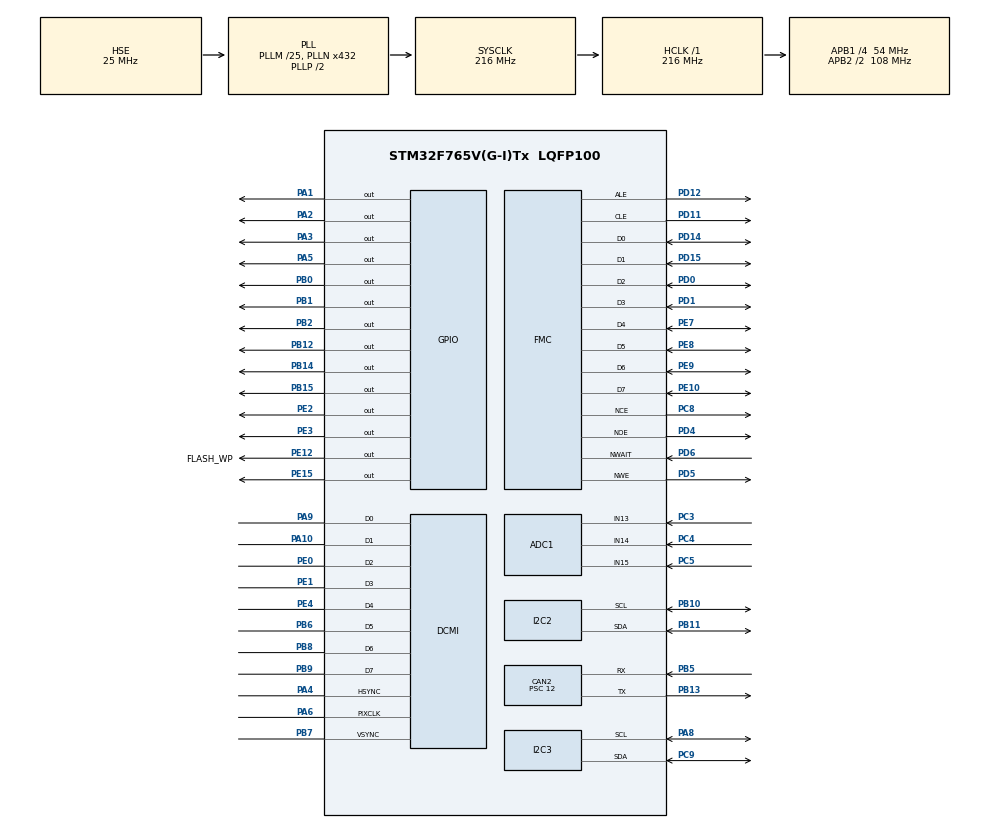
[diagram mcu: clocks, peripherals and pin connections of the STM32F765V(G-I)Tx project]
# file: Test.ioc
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SH.FMC_D7_DA7.0=FMC_D7,8b-dmux1
PB10.Mode=I2C
Dma.DCMI.0.MemBurst=DMA_MBURST_SINGLE
FMC.CommonSpaceSetupTime1=14
SH.FMC_D5_DA5.0=FMC_D5,8b-dmux1
PB13.Signal=CAN2_TX
PA5.PinState=GPIO_PIN_SET
FMC.NandBlockNbr1=2048
SH.FMC_NWE.0=FMC_NWE,8b-dmux1
RCC.SYSCLKSource=RCC_SYSCLKSOURCE_PLLCLK
Dma.DCMI.0.MemDataAlignment=DMA_MDATAALIGN_WORD
CORTEX_M7.Enable-Cortex_Memory_Protection_Unit_Region0_Settings=MPU_REGION_ENABLE
PA4.Mode=Slave_8_bits_External_Synchro
Dma.DCMI.0.PeriphDataAlignment=DMA_PDATAALIGN_WORD
PD4.Signal=FMC_NOE
RCC.APB2TimFreq_Value=216000000
PB6.Signal=DCMI_D5
PB12.PinState=GPIO_PIN_RESET
PH1/OSC_OUT.Signal=RCC_OSC_OUT
PB6.Mode=Slave_8_bits_External_Synchro
PC3.Signal=ADCx_IN13
PD0.Signal=FMC_D2_DA2
FMC.NandPlaneSize1=1024
PE1.Signal=DCMI_D3
PB2.Signal=GPIO_Output
SH.ADCx_IN15.0=ADC1_IN15,IN15
DCMI.PCKPolarity=DCMI_PCKPOLARITY_RISING
PE9.Signal=FMC_D6_DA6
PC9.Mode=I2C
PE2.Signal=GPIO_Output
PA8.Signal=I2C3_SCL
SH.FMC_D1_DA1.0=FMC_D1,8b-dmux1
PE10.Signal=FMC_D7_DA7
Mcu.Package=LQFP100
PB9.Signal=DCMI_D7
PB1.Signal=GPIO_Output
NVIC.TimeBase=TIM1_UP_TIM10_IRQn
SH.ADCx_IN14.0=ADC1_IN14,IN14
PD12.Signal=FMC_A17_ALE
NVIC.TimeBaseIP=TIM1
PA10.Signal=DCMI_D1
PE12.GPIO_Label=FLASH_WP
RCC.APB2CLKDivider=RCC_HCLK_DIV2
RCC.APB1TimFreq_Value=108000000
FMC.CommonSpaceHiZSetupTime1=14
PB13.Mode=CAN_Activate
PD15.Signal=FMC_D1_DA1
SH.FMC_D3_DA3.0=FMC_D3,8b-dmux1
CAN2.CalculateBaudRate=250000
NVIC.CAN2_TX_IRQn=true\:5\:0\:false\:false\:true\:true\:true\:true
FREERTOS.Tasks01=defaultTask,24,128,StartDefaultTask,Default,NULL,Dynamic,NULL,NULL
PE1.Mode=Slave_8_bits_External_Synchro
PD1.Signal=FMC_D3_DA3
RCC.APB1CLKDivider=RCC_HCLK_DIV4
SH.FMC_NOE.0=FMC_NOE,8b-dmux1
NVIC.CAN2_RX1_IRQn=true\:5\:0\:false\:false\:true\:true\:true\:true
PB11.Mode=I2C
FMC.EccComputation1=FMC_NAND_ECC_ENABLE
FMC.AttributeSpaceSetupTime1=14
PA9.Signal=DCMI_D0
PB10.Signal=I2C2_SCL
DCMI.JPEGMode=DCMI_JPEG_ENABLE
PB14.Signal=GPIO_Output
PA5.Signal=GPIO_Output
PE15.Signal=GPIO_Output
PE8.Signal=FMC_D5_DA5
CORTEX_M7.AccessPermission-Cortex_Memory_Protection_Unit_Region0_Settings=MPU_REGION_FULL_ACCESS
PC8.Mode=NandChipSelect3_1
ADC1.SamplingTime-1\#ChannelRegularConversion=ADC_SAMPLETIME_3CYCLES
PA4.Signal=DCMI_HSYNC
PB5.Signal=CAN2_RX
ADC1.master=1
PD11.Signal=FMC_A16_CLE
ADC1.Rank-1\#ChannelRegularConversion=1
ProjectManager.HeapSize=0x200
FMC.AttributeSpaceHoldSetupTime1=10
NVIC.CAN2_SCE_IRQn=true\:5\:0\:false\:false\:true\:true\:true\:true
NVIC.TIM1_UP_TIM10_IRQn=true\:0\:0\:false\:false\:true\:false\:false\:true
NVIC.PriorityGroup=NVIC_PRIORITYGROUP_4
PB8.Mode=Slave_8_bits_External_Synchro
PE3.Signal=GPIO_Output
PA3.PinState=GPIO_PIN_SET
PA8.Mode=I2C
Dma.DCMI.0.PeriphInc=DMA_PINC_DISABLE
PB0.Signal=GPIO_Output
Dma.DCMI.0.Priority=DMA_PRIORITY_LOW
Mcu.Family=STM32F7
PA6.Mode=Slave_8_bits_External_Synchro
RCC.CortexFreq_Value=216000000
NVIC.CAN2_RX0_IRQn=true\:5\:0\:false\:false\:true\:true\:true\:true
FMC.NandPageSize1=2048
CAN2.CalculateTimeBit=3999.99
I2C2.Timing=0x20404768
SH.FMC_D6_DA6.0=FMC_D6,8b-dmux1
FMC.TARSetupTime1=0
PB11.Signal=I2C2_SDA
PB15.Signal=GPIO_Output
FMC.CommonSpaceHoldSetupTime1=10
PB15.PinState=GPIO_PIN_RESET
ProjectManager.StackSize=0x400
Dma.DCMI.0.FIFOMode=DMA_FIFOMODE_ENABLE
VP_FREERTOS_VS_CMSIS_V2.Mode=CMSIS_V2
Dma.DCMI.0.FIFOThreshold=DMA_FIFO_THRESHOLD_FULL
Dma.DCMI.0.MemInc=DMA_MINC_ENABLE
PH0/OSC_IN.Mode=HSE-External-Oscillator
RCC.HCLKFreq_Value=216000000
RCC.AHBFreq_Value=216000000
PE3.PinState=GPIO_PIN_RESET
FMC.NandBlockSize1=64
RCC.HSE_VALUE=25000000
SH.FMC_D2_DA2.0=FMC_D2,8b-dmux1
FMC.AttributeSpaceHiZSetupTime1=14
CAN2.Prescaler=12
VP_SYS_VS_tim1.Mode=TIM1
PB5.Mode=CAN_Activate
PB7.Signal=DCMI_VSYNC
Dma.DCMI.0.PeriphBurst=DMA_PBURST_SINGLE
PE4.Mode=Slave_8_bits_External_Synchro
PH1/OSC_OUT.Mode=HSE-External-Oscillator
PE4.Signal=DCMI_D4
FREERTOS.configTOTAL_HEAP_SIZE=150000
PA6.Signal=DCMI_PIXCLK
NVIC.DMA2_Stream7_IRQn=true\:5\:0\:false\:false\:true\:false\:false\:true
SH.FMC_D0_DA0.0=FMC_D0,8b-dmux1
CAN2.BS1=CAN_BS1_13TQ
CAN2.BS2=CAN_BS2_4TQ
Dma.DCMI.0.Direction=DMA_PERIPH_TO_MEMORY
FMC.TCLRSetupTime1=0
SH.FMC_D4_DA4.0=FMC_D4,8b-dmux1
I2C3.Timing=0x20404768
FMC.AttributeSpaceWaitSetupTime1=14
PC5.Signal=ADCx_IN15
PE7.Signal=FMC_D4_DA4
PD6.Signal=FMC_NWAIT
Dma.Request0=DCMI
PA3.Signal=GPIO_Output
RCC.PLLSourceVirtual=RCC_PLLSOURCE_HSE
SH.ADCx_IN13.0=ADC1_IN13,IN13
PA10.Mode=Slave_8_bits_External_Synchro
PE2.PinState=GPIO_PIN_RESET
PC8.Signal=FMC_NCE
PC4.Signal=ADCx_IN14
PD5.Signal=FMC_NWE
FMC.CommonSpaceWaitSetupTime1=14
CORTEX_M7.MPU_Control=__NULL
PA9.Mode=Slave_8_bits_External_Synchro
PB14.PinState=GPIO_PIN_RESET
SH.FMC_A17_ALE.0=FMC_ALE,8b-dmux1
ProjectManager.TargetToolchain=STM32CubeIDE
SH.FMC_A16_CLE.0=FMC_CLE,8b-dmux1
PB9.Mode=Slave_8_bits_External_Synchro
Dma.DCMI.0.Instance=DMA2_Stream7
Dma.DCMI.0.Mode=DMA_NORMAL
ADC1.Channel-1\#ChannelRegularConversion=ADC_CHANNEL_13
RCC.USBFreq_Value=216000000
RCC.LSE_VALUE=32768
PA1.Signal=GPIO_Output
FMC.NandSpareAreaSize1=64
board=custom
RCC.VCOOutputFreq_Value=432000000
FMC.NandPlaneNbr1=2
PH0/OSC_IN.Signal=RCC_OSC_IN
RCC.APB2Freq_Value=108000000
FMC.ECCPageSize1=FMC_NAND_ECC_PAGE_SIZE_2048BYTE
CAN2.CalculateTimeQuantum=222.22222222222223
Mcu.Name=STM32F765V(G-I)Tx
PE0.Signal=DCMI_D2
PE12.Signal=GPIO_Output
PA2.Signal=GPIO_Output
PD14.Signal=FMC_D0_DA0
RCC.SYSCLKFreq_VALUE=216000000
FMC.NandExtraCommandEnable1=DISABLE
PB7.Mode=Slave_8_bits_External_Synchro
SH.FMC_NWAIT.0=FMC_NWAIT,Wait1
RCC.HSI_VALUE=16000000
ADC1.NbrOfConversionFlag=1
RCC.PLLM=25
RCC.PLLN=432
PB8.Signal=DCMI_D6
PC9.Signal=I2C3_SDA
NVIC.DCMI_IRQn=true\:5\:0\:false\:false\:true\:true\:true\:true
RCC.APB1Freq_Value=54000000
PE15.PinState=GPIO_PIN_RESET
PB12.Signal=GPIO_Output
PE0.Mode=Slave_8_bits_External_Synchro

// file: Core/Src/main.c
/* USER CODE BEGIN Header */
/**
  ******************************************************************************
  * @file           : main.c
  * @brief          : Main program body
  ******************************************************************************
  * @attention
  *
  * <h2><center>&copy; Copyright (c) 2021 STMicroelectronics.
  * All rights reserved.</center></h2>
  *
  * This software component is licensed by ST under BSD 3-Clause license,
  * the "License"; You may not use this file except in compliance with the
  * License. You may obtain a copy of the License at:
  *                        opensource.org/licenses/BSD-3-Clause
  *
  ******************************************************************************
  */
/* USER CODE END Header */
#include "main.h"
#include "cmsis_os.h"
#include "adc.h"
#include "can.h"
#include "dcmi.h"
#include "dma.h"
#include "i2c.h"
#include "gpio.h"
#include "fmc.h"

/* USER CODE BEGIN Includes */
#include <string.h>
#include <stdio.h>

#include <csp/csp.h>
#include "csp/interfaces/csp_if_can.h"

#include "application.h"

#include "flash.h"

#include "filesystemDriver.h"
#include "yaffs_yaffs2.h"
#include "yaffsfs.h"

/* USER CODE END Includes */

void SystemClock_Config(void);
void MX_FREERTOS_Init(void);
/* USER CODE BEGIN PFP */
int test(int a, int b);
static void vTestCspServer(void * pvParameters);
static void vTestCspClient(void * pvParameters);
void vTestMemory(void * pvParams);
/* USER CODE END PFP */

/* USER CODE BEGIN 0 */

//Un-comment one, to run the CSP client or server task.
//#define CLIENT
//#define SERVER
/* USER CODE END 0 */

int main(void)
{

  /* MCU Configuration--------------------------------------------------------*/

  /* Reset of all peripherals, Initializes the Flash interface and the Systick. */

  HAL_Init();

  /* Configure the system clock */
  SystemClock_Config();

  /* Initialize all configured peripherals */
  MX_GPIO_Init();
  MX_DMA_Init();
  MX_ADC1_Init();
  MX_CAN2_Init();
  MX_FMC_Init();
  MX_DCMI_Init();
  MX_I2C2_Init();
  MX_I2C3_Init();
  /* USER CODE BEGIN 2 */
  HAL_CAN_MspInit(&hcan2);
  MX_CAN2_Init();

  BaseType_t status;
#ifdef SERVER
    status = xTaskCreate(vTestCspServer,
                         "Test CSP Server",
                         160,
                         NULL,
                         1,
                         NULL);

#endif

#ifdef CLIENT
    status = xTaskCreate(vTestCspClient,
                         "Test CSP Client",
                         160,
                         NULL,
                         1,
                         NULL);

#endif

    //This task does most of the stuff.
    xTaskCreate(commandHandler,
                             "cmdHandler",
                             1000,
                             NULL,
                             3,
                             NULL);

//	Test for the memory. Not needed for the production code...
//    BaseType_t state = xTaskCreate(vTestMemory,"test mem", 10000,NULL,1,NULL);

    //Initialize the filesystem to work with freertos...
    yaffsfs_OSInitialisation();

    //Link the external flash with the filesystem.
    struct yaffs_dev* fileSystemDevice;
    fs_nand_install_drv(fileSystemDevice);

    size_t freeSpace= xPortGetFreeHeapSize();

  /* USER CODE END 2 */

  /* Init scheduler */
  osKernelInitialize();  /* Call init function for freertos objects (in freertos.c) */
  MX_FREERTOS_Init();
  /* Start scheduler */
  osKernelStart();

  /* We should never get here as control is now taken by the scheduler */
  /* Infinite loop */
  while (1)
  {

  }
}

void SystemClock_Config(void)
{
  RCC_OscInitTypeDef RCC_OscInitStruct = {0};
  RCC_ClkInitTypeDef RCC_ClkInitStruct = {0};
  RCC_PeriphCLKInitTypeDef PeriphClkInitStruct = {0};

  /** Configure the main internal regulator output voltage
  */
  __HAL_RCC_PWR_CLK_ENABLE();
  __HAL_PWR_VOLTAGESCALING_CONFIG(PWR_REGULATOR_VOLTAGE_SCALE1);
  /** Initializes the RCC Oscillators according to the specified parameters
  * in the RCC_OscInitTypeDef structure.
  */
  RCC_OscInitStruct.OscillatorType = RCC_OSCILLATORTYPE_HSE;
  RCC_OscInitStruct.HSEState = RCC_HSE_ON;
  RCC_OscInitStruct.PLL.PLLState = RCC_PLL_ON;
  RCC_OscInitStruct.PLL.PLLSource = RCC_PLLSOURCE_HSE;
  RCC_OscInitStruct.PLL.PLLM = 25;
  RCC_OscInitStruct.PLL.PLLN = 432;
  RCC_OscInitStruct.PLL.PLLP = RCC_PLLP_DIV2;
  RCC_OscInitStruct.PLL.PLLQ = 2;
  if (HAL_RCC_OscConfig(&RCC_OscInitStruct) != HAL_OK)
  {
    Error_Handler();
  }
  /** Activate the Over-Drive mode
  */
  if (HAL_PWREx_EnableOverDrive() != HAL_OK)
  {
    Error_Handler();
  }
  /** Initializes the CPU, AHB and APB buses clocks
  */
  RCC_ClkInitStruct.ClockType = RCC_CLOCKTYPE_HCLK|RCC_CLOCKTYPE_SYSCLK
                              |RCC_CLOCKTYPE_PCLK1|RCC_CLOCKTYPE_PCLK2;
  RCC_ClkInitStruct.SYSCLKSource = RCC_SYSCLKSOURCE_PLLCLK;
  RCC_ClkInitStruct.AHBCLKDivider = RCC_SYSCLK_DIV1;
  RCC_ClkInitStruct.APB1CLKDivider = RCC_HCLK_DIV4;
  RCC_ClkInitStruct.APB2CLKDivider = RCC_HCLK_DIV2;

  if (HAL_RCC_ClockConfig(&RCC_ClkInitStruct, FLASH_LATENCY_7) != HAL_OK)
  {
    Error_Handler();
  }
  PeriphClkInitStruct.PeriphClockSelection = RCC_PERIPHCLK_I2C2|RCC_PERIPHCLK_I2C3;
  PeriphClkInitStruct.I2c2ClockSelection = RCC_I2C2CLKSOURCE_PCLK1;
  PeriphClkInitStruct.I2c3ClockSelection = RCC_I2C3CLKSOURCE_PCLK1;
  if (HAL_RCCEx_PeriphCLKConfig(&PeriphClkInitStruct) != HAL_OK)
  {
    Error_Handler();
  }
}

/* USER CODE BEGIN 4 */
int test(int a, int b){

	return a+b;
}

static void vTestCspServer(void * pvParameters){

	struct csp_can_config can_conf;
	can_conf.bitrate=250000;
	can_conf.clock_speed=250000;
	can_conf.ifc = "CAN";

	/* Init buffer system with 5 packets of maximum 256 bytes each */
	int resp = csp_buffer_init(5, 256);//The 256 number is from the MTU of the CAN interface.

	/* Init CSP with address 0 */
	resp = csp_init(0);

	/* Init the CAN interface with hardware filtering */
	resp = csp_can_init(CSP_CAN_MASKED, &can_conf);

	/* Setup default route to CAN interface */
	resp = csp_rtable_set(CSP_DEFAULT_ROUTE,0, &csp_if_can,CSP_NODE_MAC);

	size_t freSpace = xPortGetFreeHeapSize();
	/* Start router task with 100 word stack, OS task priority 1 */
	resp = csp_route_start_task(100, 1);

	csp_conn_t * conn = NULL;
	csp_packet_t * packet= NULL;
	csp_socket_t * socket = csp_socket(0);
	csp_bind(socket, CSP_ANY);
	csp_listen(socket,4);

	while(1) {

			conn = csp_accept(socket, 1000);
			if(conn){
				packet = csp_read(conn,0);
				//prvUARTSend(&g_mss_uart0, packet->data, packet->length);
				//printf(“%S\r\n�?, packet->data);
				csp_buffer_free(packet);
				csp_close(conn);
			}
	}
}
/*-----------------------------------------------------------*/
static void vTestCspClient(void * pvParameters){

	struct csp_can_config can_conf;
	can_conf.bitrate=250000;
	can_conf.clock_speed=250000;
	can_conf.ifc = "CAN";

	/* Init buffer system with 5 packets of maximum 256 bytes each */
	int res = csp_buffer_init(5, 256);//The 256 number is from the MTU of the CAN interface.

	/* Init CSP with address 1 */
	res = csp_init(1);

	/* Init the CAN interface with hardware filtering */
	res = csp_can_init(CSP_CAN_MASKED, &can_conf);

	/* Setup address 0 to route to CAN interface */
	res = csp_rtable_set(0,0, &csp_if_can,0);

	size_t freSpace = xPortGetFreeHeapSize();
	/* Start router task with 100 word stack, OS task priority 1 */
	res = csp_route_start_task(100, 1);

	while(1){
		csp_conn_t * conn;
		csp_packet_t * packet;
		conn = csp_connect(2,0,4,1000,0);	//Create a connection. This tells CSP where to send the data (address and destination port).
		packet = csp_buffer_get(sizeof("TEST0 World")); // Get a buffer large enough to fit our data. Max size is 256.
		sprintf(packet->data,"TEST0 World");
		packet->length=strlen("TEST0 World");
		csp_send(conn,packet,0);
		csp_close(conn);
		vTaskDelay(10000);
	}
}

void vTestMemory(void * pvParams){

//	//Write Protect Pin should be high.
//	HAL_GPIO_WritePin(FLASH_WP_GPIO_Port, FLASH_WP_Pin, 1);
//	HAL_NAND_Reset(&hnand1);
//
//	NAND_IDTypeDef nandInfo;
//
//	//For reference, the W29N02GV id:
////	nandInfo.Device_Id = 0xDA;
////	nandInfo.Maker_Id = 0xEF;
////	nandInfo.Third_Id=90;
////	nandInfo.Fourth_Id =95;
//
//    NAND_AddressTypeDef addr;
//    addr.Block = 2047;
//    addr.Page = 0;
//    addr.Plane = 0;
//
//	HAL_NAND_Erase_Block(&hnand1, &addr);
//	HAL_StatusTypeDef res =  HAL_NAND_Read_ID(&hnand1,&nandInfo);
//
//	uint8_t testBuff [hnand1.Config.PageSize];
//	uint8_t testBuffRx [hnand1.Config.PageSize];

int result = initFlash();
eraseFlashDevice();

	//Image is too big to fit in ram, so split into chunks of 5*2048.
	uint8_t imageDataPart[5*2048];
	uint16_t imageNumParts = 375; //375*5*2048  = 3.84Mb,

	uint8_t imageRxPart [5*2048];

	for(int j=0; j<5; j++){
		for(int i=0; i< hnand1.Config.PageSize; i++){

			imageDataPart[i+j*2048] = j;
			imageRxPart[i+j*2048]= 0 ;
		}
	}

	long error = 0; //Error count, this should be 0 at the end of the test.
	uint16_t imgCount =0;
	uint32_t currAddr=0;

	while(1){

		//Write an image;

		for(int i=0; i< imageNumParts; i++){

			int8_t res = writeFlash(imageDataPart,currAddr + i*5,5);
			if(res != 1){
				while(1){}
			}
		}

		//Read the image;

		for(int i=0; i< imageNumParts; i++){

			int8_t res = readFlash(imageRxPart,currAddr + i*5,5);
			if(res != 1){
				while(1){}
			}

			for(int j=0; j<5; j++){
				for(int i=0; i< hnand1.Config.PageSize; i++){

					if(imageRxPart[i+j*2048] != j){
						error ++;
					}
					}

				}
			}

		//Clear Rx Buffer, just to be sure.
		memset(imageRxPart,0,5*2048);
		imgCount++;
		currAddr += imageNumParts*5;

		vTaskDelay(pdMS_TO_TICKS(5));
	}
}

/* USER CODE END 4 */

 /**
  * @brief  Period elapsed callback in non blocking mode
  * @note   This function is called  when TIM1 interrupt took place, inside
  * HAL_TIM_IRQHandler(). It makes a direct call to HAL_IncTick() to increment
  * a global variable "uwTick" used as application time base.
  * @param  htim : TIM handle
  * @retval None
  */
void HAL_TIM_PeriodElapsedCallback(TIM_HandleTypeDef *htim)
{
  if (htim->Instance == TIM1) {
    HAL_IncTick();
  }
}

void Error_Handler(void)
{
  __disable_irq();
  while (1)
  {
  }
}

/************************ (C) COPYRIGHT STMicroelectronics *****END OF FILE****/

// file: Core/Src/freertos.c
/* USER CODE BEGIN Header */
/**
 ******************************************************************************
 * File Name          : freertos.c
 * Description        : Code for freertos applications
 ******************************************************************************
 * @attention
 *
 * <h2><center>&copy; Copyright (c) 2021 STMicroelectronics.
 * All rights reserved.</center></h2>
 *
 * This software component is licensed by ST under Ultimate Liberty license
 * SLA0044, the "License"; You may not use this file except in compliance with
 * the License. You may obtain a copy of the License at:
 *                             www.st.com/SLA0044
 *
 ******************************************************************************
 */
/* USER CODE END Header */

#include "FreeRTOS.h"
#include "task.h"
#include "main.h"
#include "cmsis_os.h"

/* USER CODE BEGIN Includes */
#include "dcmi.h"
#include "dma.h"

/* USER CODE END Includes */

/* USER CODE BEGIN PD */
volatile int a = 0;
int count = 0;
static uint32_t img_size = 125830;
uint32_t temp_img_size;
unsigned int ReadBuff;
uint32_t jpeg_buffer[125830] = { 0 };
//static uint8_t *memory_location = jpeg_buffer;
HAL_DCMI_StateTypeDef retval;
uint32_t errval;
long retVal;
/* USER CODE END PD */

/* Definitions for defaultTask */
osThreadId_t defaultTaskHandle;
const osThreadAttr_t defaultTask_attributes = {
  .name = "defaultTask",
  .priority = (osPriority_t) osPriorityNormal,
  .stack_size = 128 * 4
};

void StartDefaultTask(void *argument);

void MX_FREERTOS_Init(void); /* (MISRA C 2004 rule 8.1) */

void MX_FREERTOS_Init(void) {

  /* Create the thread(s) */
  /* creation of defaultTask */
  defaultTaskHandle = osThreadNew(StartDefaultTask, NULL, &defaultTask_attributes);

}

void StartDefaultTask(void *argument)
{
  /* USER CODE BEGIN StartDefaultTask */
	/* Infinite loop */
	for (;;) {
		osDelay(1000);
		if (count == 0) {
			CameraSoftReset();
			CameraSensorInit();
			StartSensorInJpegMode(0x258, 0x1E2);
			osDelay(50);

			__HAL_DCMI_ENABLE_IT(&hdcmi, DCMI_IT_FRAME);
			__HAL_DCMI_ENABLE_IT(&hdcmi, DCMI_IT_VSYNC);
			__HAL_DCMI_ENABLE_IT(&hdcmi, DCMI_IT_ERR);
			//retval = HAL_DCMI_GetState(&hdcmi);
			HAL_DCMI_Start_DMA(&hdcmi, DCMI_MODE_SNAPSHOT,
					(uint32_t) jpeg_buffer, img_size);

			osDelay(500);
			DoCapture();
			while (1) {
				if (a == 1) {
					break;
				}
				osDelay(50);
			}
			CheckJpegSize();
			count = 1;
		}

	}
  /* USER CODE END StartDefaultTask */
}

/* USER CODE BEGIN Application */
void HAL_DCMI_FrameEventCallback(DCMI_HandleTypeDef *hdcmi) {
	//HAL_DCMI_Stop(hdcmi);
	//a = 1;

}
void HAL_DCMI_VsyncEventCallback(DCMI_HandleTypeDef *hdcmi) {
	//HAL_DCMI_Stop(hdcmi);
	a = 1;
//	CheckJpegSize();
//	int c=3;
}
/* USER CODE END Application */

/************************ (C) COPYRIGHT STMicroelectronics *****END OF FILE****/
